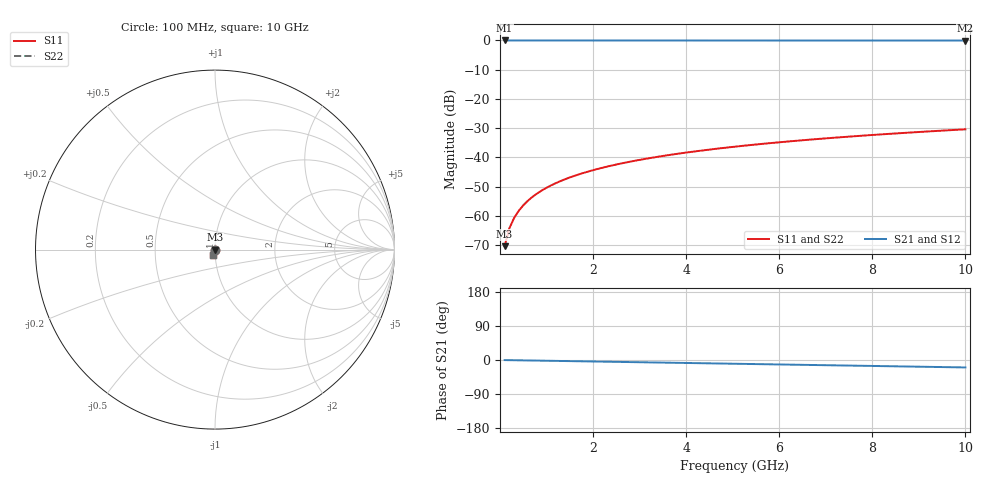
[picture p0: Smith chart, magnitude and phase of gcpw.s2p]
# HZ S RI R 50
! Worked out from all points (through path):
!   101 points, 100 MHz to 10 GHz, reference 50 ohm
!   highest |S21| = 0.00 dB at 100 MHz (marker M1); lowest = 0.0 dB at 10 GHz (marker M2)
!   group delay of S21, straight-line fit = 5.45 ps
!   lowest |S11| = -70.4 dB at 100 MHz (marker M3), VSWR 1.00, Z = 50 - j0.0301 ohm
!   |S11| at or under -10 dB: start of sweep to end of sweep
!   |S22| runs from -70.4 to -30.4 dB; largest |S21 - S12| = 0
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1e8  -1.14e-05 -0.000301  0.9999 -0.00342  0.9999 -0.00342  -1.14e-05 -0.000301
1.99e8  -2.01e-05 -0.000599  0.9998 -0.00681  0.9998 -0.00681  -2.01e-05 -0.000599
2.98e8  -3e-05 -0.000897  0.9997 -0.0102  0.9997 -0.0102  -3e-05 -0.000897
3.97e8  -4.16e-05 -0.00119  0.9996 -0.0136  0.9996 -0.0136  -4.16e-05 -0.00119
4.96e8  -5.49e-05 -0.00149  0.9995 -0.017  0.9995 -0.017  -5.49e-05 -0.00149
5.95e8  -7e-05 -0.00179  0.9994 -0.0203  0.9994 -0.0203  -7e-05 -0.00179
6.94e8  -8.7e-05 -0.00209  0.9993 -0.0237  0.9993 -0.0237  -8.7e-05 -0.00209
7.93e8  -0.000106 -0.00238  0.9992 -0.0271  0.9992 -0.0271  -0.000106 -0.00238
8.92e8  -0.000127 -0.00268  0.999 -0.0305  0.999 -0.0305  -0.000127 -0.00268
1.09e9  -0.000174 -0.00328  0.9987 -0.0373  0.9987 -0.0373  -0.000174 -0.00328
1.387e9  -0.00026 -0.00417  0.9982 -0.0474  0.9982 -0.0474  -0.00026 -0.00417
1.783e9  -0.000403 -0.00535  0.9973 -0.0609  0.9973 -0.0609  -0.000403 -0.00535
2.179e9  -0.000577 -0.00653  0.9962 -0.0744  0.9962 -0.0744  -0.000577 -0.00653
2.575e9  -0.000782 -0.00771  0.9949 -0.0879  0.9949 -0.0879  -0.000782 -0.00771
2.971e9  -0.00102 -0.00888  0.9935 -0.1014  0.9935 -0.1014  -0.00102 -0.00888
3.466e9  -0.00136 -0.0103  0.9915 -0.1182  0.9915 -0.1182  -0.00136 -0.0103
4.258e9  -0.00201 -0.0127  0.9876 -0.145  0.9876 -0.145  -0.00201 -0.0127
5.05e9  -0.00279 -0.0149  0.983 -0.1717  0.983 -0.1717  -0.00279 -0.0149
5.842e9  -0.00369 -0.0172  0.9777 -0.1982  0.9777 -0.1982  -0.00369 -0.0172
6.733e9  -0.00485 -0.0197  0.9709 -0.2279  0.9709 -0.2279  -0.00485 -0.0197
8.416e9  -0.00746 -0.0242  0.9555 -0.2834  0.9555 -0.2834  -0.00746 -0.0242
1e10  -0.0104 -0.0283  0.938 -0.3347  0.938 -0.3347  -0.0104 -0.0283
